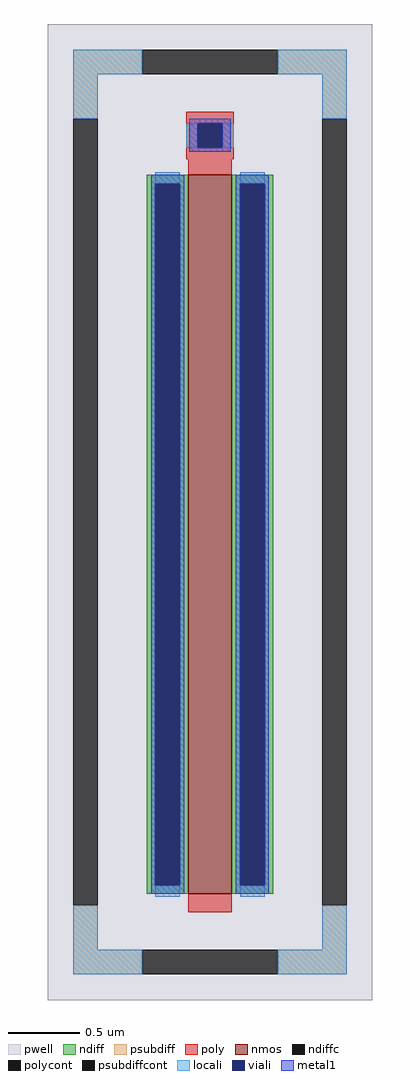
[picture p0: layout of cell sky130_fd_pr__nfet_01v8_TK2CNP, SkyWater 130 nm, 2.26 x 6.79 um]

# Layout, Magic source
magic
tech sky130A
magscale 1 2
<< pwell >>
rect -226 -679 226 679
<< nmos >>
rect -30 -531 30 469
<< ndiff >>
rect -88 457 -30 469
rect -88 -519 -76 457
rect -42 -519 -30 457
rect -88 -531 -30 -519
rect 30 457 88 469
rect 30 -519 42 457
rect 76 -519 88 457
rect 30 -531 88 -519
<< ndiffc >>
rect -76 -519 -42 457
rect 42 -519 76 457
<< psubdiff >>
rect -190 609 -94 643
rect 94 609 190 643
rect -190 547 -156 609
rect 156 547 190 609
rect -190 -609 -156 -547
rect 156 -609 190 -547
rect -190 -643 -94 -609
rect 94 -643 190 -609
<< psubdiffcont >>
rect -94 609 94 643
rect -190 -547 -156 547
rect 156 -547 190 547
rect -94 -643 94 -609
<< poly >>
rect -33 541 33 557
rect -33 507 -17 541
rect 17 507 33 541
rect -33 491 33 507
rect -30 469 30 491
rect -30 -557 30 -531
<< polycont >>
rect -17 507 17 541
<< locali >>
rect -190 609 -94 643
rect 94 609 190 643
rect -190 547 -156 609
rect 156 547 190 609
rect -33 507 -17 541
rect 17 507 33 541
rect -76 457 -42 473
rect -76 -535 -42 -519
rect 42 457 76 473
rect 42 -535 76 -519
rect -190 -609 -156 -547
rect 156 -609 190 -547
rect -190 -643 -94 -609
rect 94 -643 190 -609
<< viali >>
rect -17 507 17 541
rect -76 -519 -42 457
rect 42 -519 76 457
<< metal1 >>
rect -29 541 29 547
rect -29 507 -17 541
rect 17 507 29 541
rect -29 501 29 507
rect -82 457 -36 469
rect -82 -519 -76 457
rect -42 -519 -36 457
rect -82 -531 -36 -519
rect 36 457 82 469
rect 36 -519 42 457
rect 76 -519 82 457
rect 36 -531 82 -519
<< properties >>
string FIXED_BBOX -173 -626 173 626
string gencell sky130_fd_pr__nfet_01v8
string library sky130
string parameters w 5 l 0.3 m 1 nf 1 diffcov 100 polycov 100 guard 1 glc 1 grc 1 gtc 1 gbc 1 tbcov 100 rlcov 100 topc 1 botc 0 poverlap 0 doverlap 1 lmin 0.15 wmin 0.42 compatible {sky130_fd_pr__nfet_01v8 sky130_fd_pr__nfet_01v8_lvt  sky130_fd_bs_flash__special_sonosfet_star  sky130_fd_pr__nfet_g5v0d10v5 sky130_fd_pr__nfet_05v0_nvt  sky130_fd_pr__nfet_03v3_nvt} full_metal 1 viasrc 100 viadrn 100 viagate 100 viagb 0 viagr 0 viagl 0 viagt 0
<< end >>
